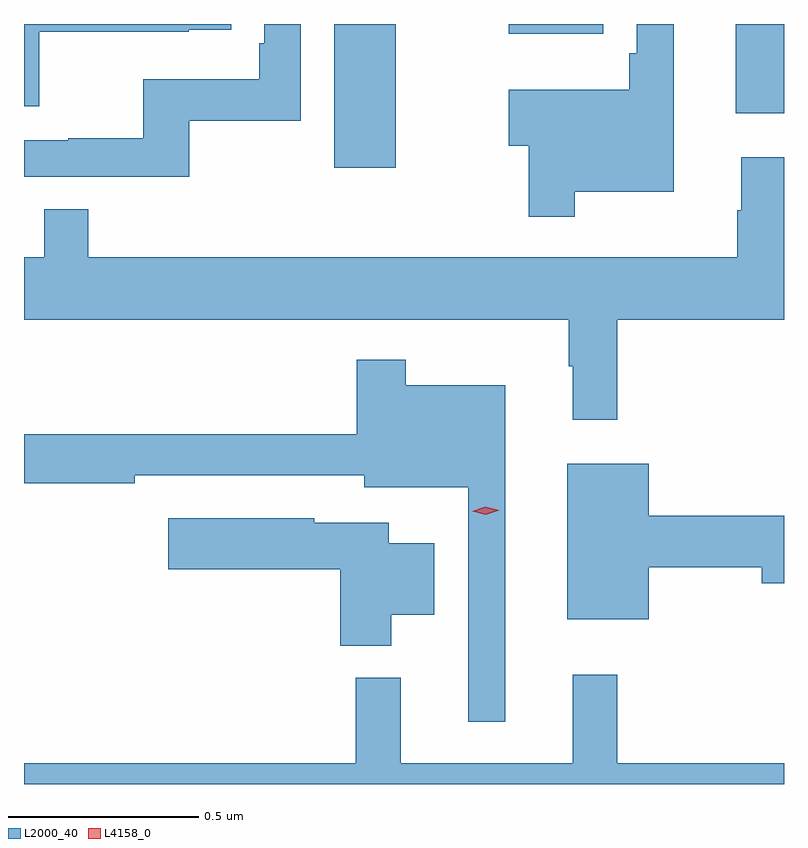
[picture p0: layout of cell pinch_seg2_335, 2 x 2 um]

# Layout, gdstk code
import gdstk
lib = gdstk.Library(unit=1e-6, precision=1e-09)
def R(c, l, rs):  # rectangles x0, y0, x1, y1
    for r in rs: c.add(gdstk.rectangle(r[:2], r[2:], *l))
def P(c, l, *ps):  # polygons
    for p in ps: c.add(gdstk.Polygon(p, *l))
L2000_40 = (2000, 40)
L4158_0 = (4158, 0)

pinch_seg2_335 = lib.new_cell('pinch_seg2_335')
R(pinch_seg2_335, L2000_40, [(995.387,645.372,995.548,645.75), (996.443,645.515,996.57,645.75), (995.846,645.725,996.094,645.75)])
P(pinch_seg2_335, L2000_40, [(995.005,645.495),(995.298,645.495),(995.298,645.75),(995.202,645.75),(995.202,645.7),(995.189,645.7),(995.189,645.604),(994.884,645.604),(994.884,645.449),(994.687,645.449),(994.687,645.444),(994.57,645.444),(994.57,645.348),(995.005,645.348)],
  [(994.61,645.73),(995.003,645.73),(995.003,645.735),(995.116,645.735),(995.116,645.75),(994.57,645.75),(994.57,645.534),(994.61,645.534)],
  [(996.019,645.308),(996.28,645.308),(996.28,645.75),(996.183,645.75),(996.183,645.673),(996.163,645.673),(996.163,645.577),(995.846,645.577),(995.846,645.43),(995.898,645.43),(995.898,645.243),(996.019,645.243)],
  [(996.131,644.972),(996.57,644.972),(996.57,645.4),(996.458,645.4),(996.458,645.26),(996.447,645.26),(996.447,645.136),(994.739,645.136),(994.739,645.263),(994.623,645.263),(994.623,645.136),(994.57,645.136),(994.57,644.972),(996.003,644.972),(996.003,644.849),(996.014,644.849),(996.014,644.709),(996.131,644.709)],
  [(995.836,644.8),(995.575,644.8),(995.575,644.866),(995.446,644.866),(995.446,644.671),(994.57,644.671),(994.57,644.542),(994.862,644.542),(994.862,644.562),(995.465,644.562),(995.465,644.531),(995.739,644.531),(995.739,643.914),(995.836,643.914)],
  [(996.214,644.32),(996.512,644.32),(996.512,644.278),(996.57,644.278),(996.57,644.456),(996.214,644.456),(996.214,644.593),(995.999,644.593),(995.999,644.183),(996.214,644.183)],
  [(995.536,644.195),(995.65,644.195),(995.65,644.383),(995.53,644.383),(995.53,644.437),(995.334,644.437),(995.334,644.449),(994.95,644.449),(994.95,644.315),(995.402,644.315),(995.402,644.114),(995.536,644.114)],
  [(996.57,643.804),(996.131,643.804),(996.131,644.038),(996.014,644.038),(996.014,643.804),(995.561,643.804),(995.561,644.029),(995.443,644.029),(995.443,643.804),(994.57,643.804),(994.57,643.75),(996.57,643.75)])
P(pinch_seg2_335, L4158_0, [(995.785,644.459),(995.749,644.468),(995.749,644.468),(995.749,644.468),(995.784,644.479),(995.82,644.471),(995.82,644.47),(995.82,644.47)])

lib.write_gds('pinch_seg2_335.gds')
